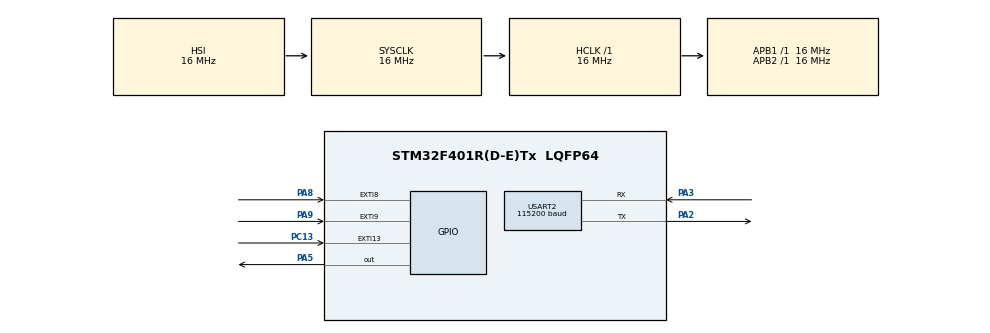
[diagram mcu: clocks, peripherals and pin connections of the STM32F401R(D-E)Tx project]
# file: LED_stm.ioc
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Mcu.Family=STM32F4
Mcu.Name=STM32F401R(D-E)Tx
Mcu.Package=LQFP64
NVIC.EXTI15_10_IRQn=true\:0\:0\:true\:false\:true\:true\:true
NVIC.EXTI9_5_IRQn=true\:0\:0\:true\:false\:true\:true\:true
NVIC.PriorityGroup=NVIC_PRIORITYGROUP_4
NVIC.USART2_IRQn=true\:0\:0\:false\:false\:true\:true\:true
PA13.Mode=Serial_Wire
PA13.Signal=SYS_JTMS-SWDIO
PA14.Mode=Serial_Wire
PA14.Signal=SYS_JTCK-SWCLK
PA2.GPIO_PuPd=GPIO_PULLDOWN
PA2.Mode=Asynchronous
PA2.Signal=USART2_TX
PA3.GPIO_PuPd=GPIO_PULLDOWN
PA3.Mode=Asynchronous
PA3.Signal=USART2_RX
PA5.Signal=GPIO_Output
PA8.GPIO_ModeDefaultEXTI=GPIO_MODE_IT_RISING
PA8.GPIO_PuPd=GPIO_PULLDOWN
PA8.Signal=GPXTI8
PA9.GPIO_ModeDefaultEXTI=GPIO_MODE_IT_RISING
PA9.GPIO_PuPd=GPIO_PULLDOWN
PA9.Signal=GPXTI9
PC13-ANTI_TAMP.GPIO_ModeDefaultEXTI=GPIO_MODE_IT_FALLING
PC13-ANTI_TAMP.GPIO_PuPd=GPIO_PULLUP
PC13-ANTI_TAMP.Signal=GPXTI13
PH0\ -\ OSC_IN.Mode=HSE-External-Clock-Source
PH0\ -\ OSC_IN.Signal=RCC_OSC_IN
PH1\ -\ OSC_OUT.Mode=HSE-External-Clock-Source
PH1\ -\ OSC_OUT.Signal=RCC_OSC_OUT
ProjectManager.HeapSize=0x200
ProjectManager.StackSize=0x400
ProjectManager.TargetToolchain=STM32CubeIDE
RCC.AHBFreq_Value=16000000
RCC.APB1Freq_Value=16000000
RCC.APB2Freq_Value=16000000
RCC.CortexFreq_Value=16000000
RCC.HSE_VALUE=25000000
RCC.HSI_VALUE=16000000
RCC.LSE_VALUE=32768
RCC.SYSCLKFreq_VALUE=16000000
RCC.VCOOutputFreq_Value=192000000
USART2.BaudRate=115200
USART2.VirtualMode=VM_ASYNC
board=custom

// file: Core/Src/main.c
/* USER CODE BEGIN Header */
/**
  ******************************************************************************
  * @file           : main.c
  * @brief          : Main program body
  ******************************************************************************
  * @attention
  *
  * <h2><center>&copy; Copyright (c) 2021 STMicroelectronics.
  * All rights reserved.</center></h2>
  *
  * This software component is licensed by ST under BSD 3-Clause license,
  * the "License"; You may not use this file except in compliance with the
  * License. You may obtain a copy of the License at:
  *                        opensource.org/licenses/BSD-3-Clause
  *
  ******************************************************************************
  */
/* USER CODE END Header */
#include "main.h"

UART_HandleTypeDef huart2;

/* USER CODE BEGIN PV */
extern uint8_t state_avt  = 0;
extern uint8_t send  = 0;
extern uint8_t error  = 0;
uint8_t counter = 0;
static uint8_t data0[2] = {0x01, 0x02};
static uint8_t data1[2] = {0x00, 0x00};
uint8_t* refs[2];

/* USER CODE END PV */

void SystemClock_Config(void);
static void MX_GPIO_Init(void);
static void MX_USART2_UART_Init(void);

/* USER CODE BEGIN 0 */

void InitInternalData(void) {
	refs[0] = &data0[0];
	refs[1] = &data1[0];
}

/* USER CODE END 0 */

int main(void)
{
  /* USER CODE BEGIN 1 */
	InitInternalData();
  /* USER CODE END 1 */

  /* MCU Configuration--------------------------------------------------------*/

  /* Reset of all peripherals, Initializes the Flash interface and the Systick. */
  HAL_Init();

  /* Configure the system clock */
  SystemClock_Config();

  /* Initialize all configured peripherals */
  MX_GPIO_Init();
  MX_USART2_UART_Init();

  /* Infinite loop */
  /* USER CODE BEGIN WHILE */

//    uint8_t data[5] = {0xFF, 0xFE, 0x01, 0x01, 0x00};
//    HAL_UART_Transmit_IT(&huart2, data, 5);
int i = -1;
  while (1)
  {
	  switch (state_avt) {
	  case 0:
	  state_avt = 0;
	  if (send == 1){
		  state_avt = 1;
		  send = 0;
	  }
	  break;
	  case 1:
	  i += 1;
	  if (i == 2) {
		  i = 0;
	  }
	  state_avt = 2;
	  break;
	  case 2:

	  if (i == -1){
		  i = 0;
		  }
		  HAL_UART_Transmit_IT(&huart2, refs[i], 2);
		  state_avt = 0;
//	  if (error == 1) {
//		  state_avt = 3;
//	  }
	  break;
//	  case 3:
//	  state_avt = 2;
//	  counter += 1;
//	  error = 0;
//	  break;
	  }
//
//	  if (counter > 2){
//		  HAL_GPIO_WritePin(GPIOA, GPIO_PIN_5, GPIO_PIN_SET);
//
//	  }
    /* USER CODE END WHILE */

  }
}

void SystemClock_Config(void)
{
  RCC_OscInitTypeDef RCC_OscInitStruct = {0};
  RCC_ClkInitTypeDef RCC_ClkInitStruct = {0};

  /** Configure the main internal regulator output voltage
  */
  __HAL_RCC_PWR_CLK_ENABLE();
  __HAL_PWR_VOLTAGESCALING_CONFIG(PWR_REGULATOR_VOLTAGE_SCALE2);
  /** Initializes the RCC Oscillators according to the specified parameters
  * in the RCC_OscInitTypeDef structure.
  */
  RCC_OscInitStruct.OscillatorType = RCC_OSCILLATORTYPE_HSI;
  RCC_OscInitStruct.HSIState = RCC_HSI_ON;
  RCC_OscInitStruct.HSICalibrationValue = RCC_HSICALIBRATION_DEFAULT;
  RCC_OscInitStruct.PLL.PLLState = RCC_PLL_NONE;
  if (HAL_RCC_OscConfig(&RCC_OscInitStruct) != HAL_OK)
  {
    Error_Handler();
  }
  /** Initializes the CPU, AHB and APB buses clocks
  */
  RCC_ClkInitStruct.ClockType = RCC_CLOCKTYPE_HCLK|RCC_CLOCKTYPE_SYSCLK
                              |RCC_CLOCKTYPE_PCLK1|RCC_CLOCKTYPE_PCLK2;
  RCC_ClkInitStruct.SYSCLKSource = RCC_SYSCLKSOURCE_HSI;
  RCC_ClkInitStruct.AHBCLKDivider = RCC_SYSCLK_DIV1;
  RCC_ClkInitStruct.APB1CLKDivider = RCC_HCLK_DIV1;
  RCC_ClkInitStruct.APB2CLKDivider = RCC_HCLK_DIV1;

  if (HAL_RCC_ClockConfig(&RCC_ClkInitStruct, FLASH_LATENCY_0) != HAL_OK)
  {
    Error_Handler();
  }
}

static void MX_USART2_UART_Init(void)
{

  huart2.Instance = USART2;
  huart2.Init.BaudRate = 256000;
  huart2.Init.WordLength = UART_WORDLENGTH_8B;
  huart2.Init.StopBits = UART_STOPBITS_1;
  huart2.Init.Parity = UART_PARITY_NONE;
  huart2.Init.Mode = UART_MODE_TX_RX;
  huart2.Init.HwFlowCtl = UART_HWCONTROL_NONE;
  huart2.Init.OverSampling = UART_OVERSAMPLING_16;
  if (HAL_UART_Init(&huart2) != HAL_OK)
  {
    Error_Handler();
  }

}

static void MX_GPIO_Init(void)
{
  GPIO_InitTypeDef GPIO_InitStruct = {0};

  /* GPIO Ports Clock Enable */
  __HAL_RCC_GPIOC_CLK_ENABLE();
  __HAL_RCC_GPIOH_CLK_ENABLE();
  __HAL_RCC_GPIOA_CLK_ENABLE();

  /*Configure GPIO pin Output Level */
  HAL_GPIO_WritePin(GPIOA, GPIO_PIN_5, GPIO_PIN_RESET);

  /*Configure GPIO pin : PC13 */
  GPIO_InitStruct.Pin = GPIO_PIN_13;
  GPIO_InitStruct.Mode = GPIO_MODE_IT_FALLING;
  GPIO_InitStruct.Pull = GPIO_PULLUP;
  HAL_GPIO_Init(GPIOC, &GPIO_InitStruct);

  /*Configure GPIO pin : PA5 */
  GPIO_InitStruct.Pin = GPIO_PIN_5;
  GPIO_InitStruct.Mode = GPIO_MODE_OUTPUT_PP;
  GPIO_InitStruct.Pull = GPIO_NOPULL;
  GPIO_InitStruct.Speed = GPIO_SPEED_FREQ_LOW;
  HAL_GPIO_Init(GPIOA, &GPIO_InitStruct);

  /*Configure GPIO pins : PA8 PA9 */
  GPIO_InitStruct.Pin = GPIO_PIN_8|GPIO_PIN_9;
  GPIO_InitStruct.Mode = GPIO_MODE_IT_RISING;
  GPIO_InitStruct.Pull = GPIO_PULLDOWN;
  HAL_GPIO_Init(GPIOA, &GPIO_InitStruct);

  /* EXTI interrupt init*/
  HAL_NVIC_SetPriority(EXTI9_5_IRQn, 0, 0);
  HAL_NVIC_EnableIRQ(EXTI9_5_IRQn);

  HAL_NVIC_SetPriority(EXTI15_10_IRQn, 0, 0);
  HAL_NVIC_EnableIRQ(EXTI15_10_IRQn);

}

void Error_Handler(void)
{
  __disable_irq();
  while (1)
  {
  }
}

/************************ (C) COPYRIGHT STMicroelectronics *****END OF FILE****/
